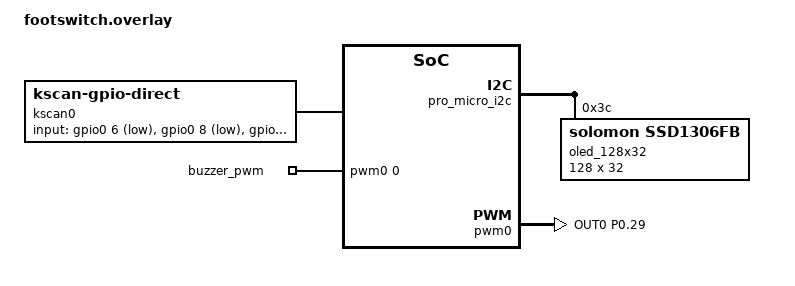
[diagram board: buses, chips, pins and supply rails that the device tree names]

// SSD1306 OLED 핀아웃: SDA(P0.17), SCL(P0.20)
&pro_micro_i2c {
    status = "okay";

    oled_128x32: ssd1306@3c {
        compatible = "solomon,ssd1306fb";
        reg = <0x3c>;
        width = <128>;
        height = <32>;
        segment-offset = <0>;
        page-offset = <0>;
        display-offset = <0>;
        multiplex-ratio = <31>;
        segment-remap;
        com-invdir;
        com-sequential;
        inversion-on;
        prechargep = <0x22>;
    };
};

/ {
    chosen {
        zmk,kscan = &kscan0;
        zephyr,display = &oled_128x32;
    };

    kscan0: kscan {
        compatible = "zmk,kscan-gpio-direct";
        wakeup-source;
        
        input-gpios =
            <&gpio0 6 (GPIO_ACTIVE_LOW | GPIO_PULL_UP)>,  // 풋스위치 1(좌) (P0.6)
            <&gpio0 8 (GPIO_ACTIVE_LOW | GPIO_PULL_UP)>,  // 풋스위치 2(우) (P0.8)
            <&gpio0 22 (GPIO_ACTIVE_LOW | GPIO_PULL_UP)>, // 마우스/키보드 전환 스위치 (P0.22)
            <&gpio0 24 (GPIO_ACTIVE_LOW | GPIO_PULL_UP)>; // 레이어 순환 스위치 (P0.24)
    };
};

/ {
    buzzer: pwmleds {
        compatible = "pwm-leds";
        buzzer_pwm: buzzer_pwm {
            pwms = <&pwm0 0 PWM_MSEC(10) PWM_POLARITY_NORMAL>;
            label = "buzzer_pwm";
        };
    };
};

&pwm0 {
    status = "okay";
    pinctrl-0 = <&pwm0_default>;
    pinctrl-1 = <&pwm0_sleep>;
    pinctrl-names = "default", "sleep";
};

&pinctrl {
    pwm0_default: pwm0_default {
        group1 {
            psels = <NRF_PSEL(PWM_OUT0, 0, 29)>;
        };
    };
    pwm0_sleep: pwm0_sleep {
        group1 {
            psels = <NRF_PSEL(PWM_OUT0, 0, 29)>;
            low-power-enable;
        };
    };
};
